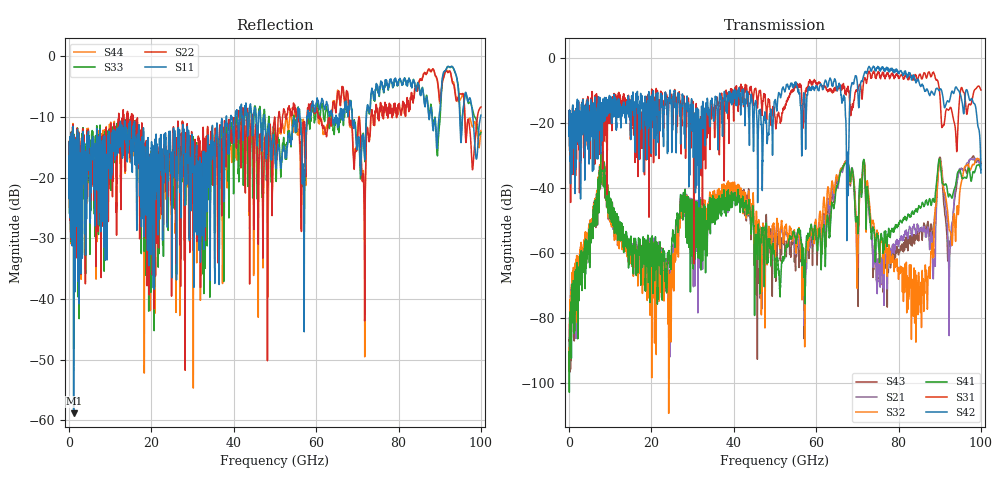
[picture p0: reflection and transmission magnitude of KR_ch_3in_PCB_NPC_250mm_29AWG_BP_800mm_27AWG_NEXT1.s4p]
! Created Thu Mar  2 12:35:34 2023
# ghz S ma R 45
! 4 Port Network Data from SP1.SP block
! freq  magS11  angS11  magS12  angS12  magS13  angS13  magS14  angS14
!  magS21  angS21  magS22  angS22  magS23  angS23  magS24  angS24
!  magS31  angS31  magS32  angS32  magS33  angS33  magS34  angS34
!  magS41  angS41  magS42  angS42  magS43  angS43  magS44  angS44
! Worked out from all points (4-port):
!   4000 points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, 25 MHz to 100 GHz, reference 45 ohm
!   strongest paths, dB at 25 MHz, 25.02 GHz, 50.02 GHz, 75.03 GHz, 100 GHz:
!     S42: -21.0, -20.6, -12.9, -2.6, -35.2
!     S31: -21.1, -18.1, -18.0, -4.1, -9.7
!     S41: -90.3, -55.8, -65.5, -54.6, -34.3
!     S32: -89.1, -63.8, -61.2, -53.7, -31.9
!     S21: -90.3, -60.6, -58.0, -64.7, -32.8
!     S43: -91.3, -59.4, -56.3, -64.3, -32.4
!   lowest |S11| = -58.8 dB at 1.125 GHz (marker M1), VSWR 1.00, Z = 45 + j0.101 ohm
!   |S11| at or under -10 dB: start of sweep to 38.16 GHz; 47.47 GHz to 55.53 GHz (8.061 GHz wide, 15.7 % of centre); 68.77 GHz to 72.17 GHz (3.401 GHz wide, 4.83 % of centre) (the widest 3 of 25)
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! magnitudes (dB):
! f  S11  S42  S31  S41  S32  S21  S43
! 25 MHz  -16.4  -21.0  -21.1  -90.3  -89.1  -90.3  -91.3
! 1.125 GHz  -58.8  -26.3  -25.8  -78.0  -76.9  -78.0  -76.0
! 8.125 GHz  -15.4  -19.3  -27.8  -29.7  -29.4  -29.4  -29.6
! 24.35 GHz  -14.5  -13.0  -13.4  -60.3  -68.9  -70.9  -67.0
! 67.25 GHz  -7.7  -20.3  -11.0  -32.1  -31.5  -31.7  -31.8
! 85.15 GHz  -5.8  -8.1  -4.9  -45.7  -70.4  -53.0  -53.3
! 100 GHz  -9.7  -35.2  -9.7  -34.3  -31.9  -32.8  -32.4
